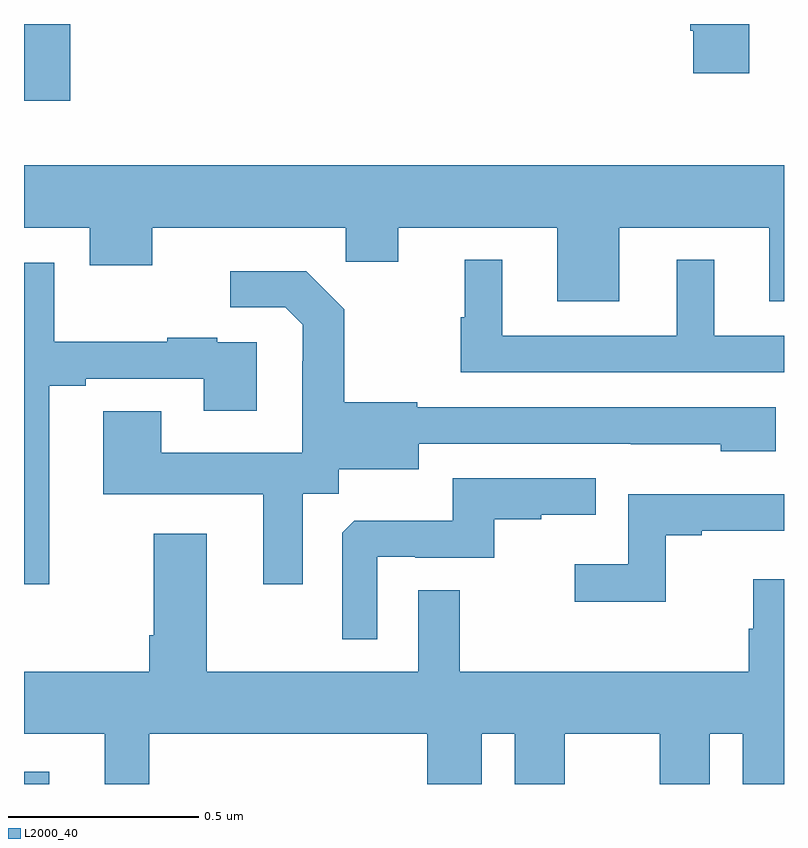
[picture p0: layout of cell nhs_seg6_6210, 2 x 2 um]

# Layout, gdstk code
import gdstk
lib = gdstk.Library(unit=1e-6, precision=1e-09)
def R(c, l, rs):  # rectangles x0, y0, x1, y1
    for r in rs: c.add(gdstk.rectangle(r[:2], r[2:], *l))
def P(c, l, *ps):  # polygons
    for p in ps: c.add(gdstk.Polygon(p, *l))
L2000_40 = (2000, 40)

nhs_seg6_6210 = lib.new_cell('nhs_seg6_6210')
R(nhs_seg6_6210, L2000_40, [(192,984.5,192.067,984.532), (192,986.298,192.122,986.5)])
P(nhs_seg6_6210, L2000_40, [(193.909,986.5),(193.753,986.5),(193.753,986.482),(193.761,986.482),(193.761,986.37),(193.909,986.37)],
  [(193.567,985.964),(193.961,985.964),(193.961,985.77),(194,985.77),(194,986.128),(192,986.128),(192,985.964),(192.173,985.964),(192.173,985.865),(192.337,985.865),(192.337,985.964),(192.847,985.964),(192.847,985.874),(192.985,985.874),(192.985,985.964),(193.403,985.964),(193.403,985.77),(193.567,985.77)],
  [(194,985.68),(193.816,985.68),(193.816,985.879),(193.718,985.879),(193.718,985.68),(193.258,985.68),(193.258,985.879),(193.16,985.879),(193.16,985.728),(193.149,985.728),(193.149,985.584),(194,985.584)],
  [(192.067,985.548),(192.163,985.548),(192.163,985.566),(192.473,985.566),(192.473,985.482),(192.613,985.482),(192.613,985.662),(192.509,985.662),(192.509,985.675),(192.377,985.675),(192.377,985.664),(192.079,985.664),(192.079,985.872),(192,985.872),(192,985.026),(192.067,985.026)],
  [(192.733,985.264),(192.828,985.264),(192.828,985.328),(193.039,985.328),(193.039,985.395),(193.597,985.395),(193.597,985.394),(193.833,985.394),(193.833,985.376),(193.978,985.376),(193.978,985.491),(193.035,985.491),(193.035,985.504),(192.843,985.504),(192.843,985.749),(192.743,985.849),(192.543,985.849),(192.543,985.755),(192.687,985.755),(192.734,985.708),(192.734,985.613),(192.732,985.613),(192.732,985.372),(192.361,985.372),(192.361,985.481),(192.209,985.481),(192.209,985.262),(192.629,985.262),(192.629,985.026),(192.733,985.026)],
  [(192.93,985.098),(193.03,985.098),(193.03,985.095),(193.238,985.095),(193.238,985.197),(193.361,985.197),(193.361,985.208),(193.505,985.208),(193.505,985.305),(193.128,985.305),(193.128,985.193),(192.869,985.193),(192.837,985.161),(192.837,984.881),(192.93,984.881)],
  [(193.689,985.155),(193.783,985.155),(193.783,985.167),(194,985.167),(194,985.263),(193.59,985.263),(193.59,985.078),(193.449,985.078),(193.449,984.98),(193.689,984.98)],
  [(192,984.632),(192.212,984.632),(192.212,984.5),(192.329,984.5),(192.329,984.632),(193.061,984.632),(193.061,984.5),(193.204,984.5),(193.204,984.632),(193.292,984.632),(193.292,984.5),(193.423,984.5),(193.423,984.632),(193.673,984.632),(193.673,984.5),(193.804,984.5),(193.804,984.632),(193.892,984.632),(193.892,984.5),(194,984.5),(194,985.039),(193.919,985.039),(193.919,984.909),(193.907,984.909),(193.907,984.796),(193.147,984.796),(193.147,985.01),(193.038,985.01),(193.038,984.796),(192.481,984.796),(192.481,985.159),(192.341,985.159),(192.341,984.892),(192.329,984.892),(192.329,984.796),(192,984.796)])

lib.write_gds('nhs_seg6_6210.gds')
